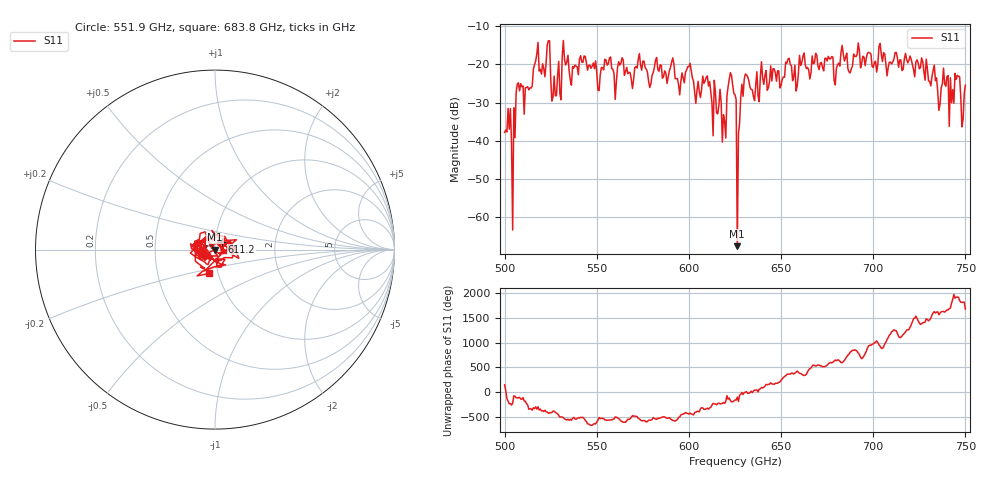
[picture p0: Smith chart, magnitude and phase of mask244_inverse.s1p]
!Created with skrf (http://scikit-rf.org).
# GHz S MA R 50.0
!freq magS11 angS11
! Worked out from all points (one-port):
!   401 points, 500 GHz to 750 GHz, reference 50 ohm
!   lowest |S11| = -67.6 dB at 626.2 GHz (marker M1), VSWR 1.00, Z = 50 - j0.0417 ohm
!   |S11| at or under -10 dB: start of sweep to end of sweep
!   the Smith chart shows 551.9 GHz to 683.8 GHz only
!   S11 on the Smith chart (normalised r, x): 551.9 GHz: 0.87, -0.02; 611.2 GHz: 1.08, +0.10; 683.8 GHz: 0.91, -0.25
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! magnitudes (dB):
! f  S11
! 500 GHz  -37.8
! 504.4 GHz  -63.3
! 507.5 GHz  -24.8
! 513.8 GHz  -26.2
! 516.9 GHz  -19.1
! 523.8 GHz  -13.8
! 526.9 GHz  -23.1
! 531.2 GHz  -18.0
! 551.9 GHz  -22.8
! 562.5 GHz  -20.2
! 593.8 GHz  -23.7
! 600 GHz  -20.6
! 611.2 GHz  -24.5
! 618.8 GHz  -33.2
! 623.1 GHz  -23.0
! 624.4 GHz  -27.6
! 625 GHz  -27.9
! 626.2 GHz  -67.6
! 631.2 GHz  -22.7
! 656.2 GHz  -24.3
! 683.8 GHz  -17.3
! 687.5 GHz  -22.2
! 718.8 GHz  -19.6
! 736.2 GHz  -30.4
! 739.4 GHz  -25.7
! 742.5 GHz  -30.1
! 745.6 GHz  -22.9
! 750 GHz  -25.4
